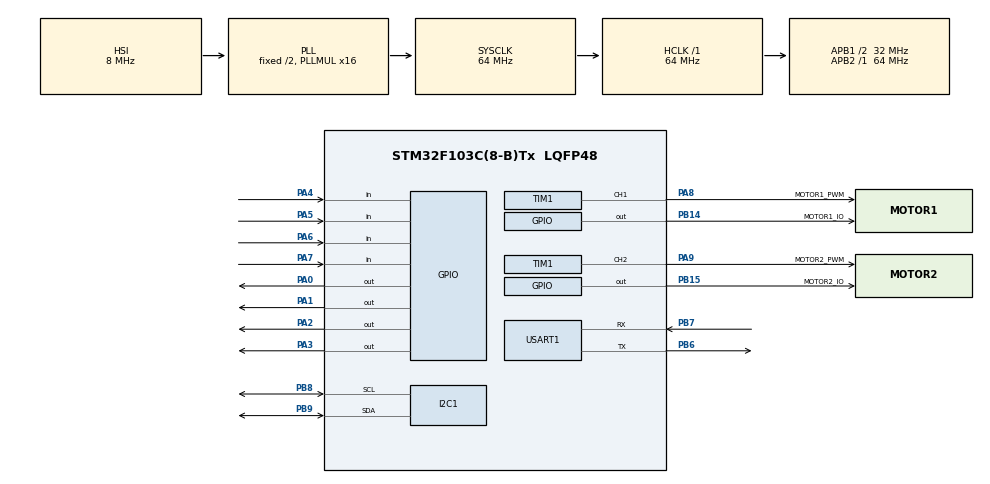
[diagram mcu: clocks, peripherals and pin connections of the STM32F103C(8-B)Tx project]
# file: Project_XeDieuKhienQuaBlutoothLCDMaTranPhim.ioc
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Mcu.Family=STM32F1
Mcu.Name=STM32F103C(8-B)Tx
Mcu.Package=LQFP48
NVIC.PriorityGroup=NVIC_PRIORITYGROUP_4
NVIC.USART1_IRQn=true\:1\:0\:true\:false\:true\:true\:true\:true
PA0-WKUP.Signal=GPIO_Output
PA1.Signal=GPIO_Output
PA13.Mode=Serial_Wire
PA13.Signal=SYS_JTMS-SWDIO
PA14.Mode=Serial_Wire
PA14.Signal=SYS_JTCK-SWCLK
PA2.Signal=GPIO_Output
PA3.Signal=GPIO_Output
PA4.GPIO_Mode=GPIO_MODE_INPUT
PA4.GPIO_PuPd=GPIO_PULLUP
PA4.Signal=GPIO_Input
PA5.GPIO_Mode=GPIO_MODE_INPUT
PA5.GPIO_PuPd=GPIO_PULLUP
PA5.Signal=GPIO_Input
PA6.GPIO_Mode=GPIO_MODE_INPUT
PA6.GPIO_PuPd=GPIO_PULLUP
PA6.Signal=GPIO_Input
PA7.GPIO_Mode=GPIO_MODE_INPUT
PA7.GPIO_PuPd=GPIO_PULLUP
PA7.Signal=GPIO_Input
PA8.GPIO_Label=MOTOR1_PWM
PA8.Signal=S_TIM1_CH1
PA9.GPIO_Label=MOTOR2_PWM
PA9.Signal=S_TIM1_CH2
PB14.GPIO_Label=MOTOR1_IO
PB14.Signal=GPIO_Output
PB15.GPIO_Label=MOTOR2_IO
PB15.Signal=GPIO_Output
PB6.Mode=Asynchronous
PB6.Signal=USART1_TX
PB7.Mode=Asynchronous
PB7.Signal=USART1_RX
PB8.Mode=I2C
PB8.Signal=I2C1_SCL
PB9.Mode=I2C
PB9.Signal=I2C1_SDA
PD0-OSC_IN.Mode=HSE-External-Oscillator
PD0-OSC_IN.Signal=RCC_OSC_IN
PD1-OSC_OUT.Mode=HSE-External-Oscillator
PD1-OSC_OUT.Signal=RCC_OSC_OUT
ProjectManager.HeapSize=0x200
ProjectManager.StackSize=0x400
ProjectManager.TargetToolchain=MDK-ARM V5.32
RCC.AHBFreq_Value=64000000
RCC.APB1CLKDivider=RCC_HCLK_DIV2
RCC.APB1Freq_Value=32000000
RCC.APB1TimFreq_Value=64000000
RCC.APB2Freq_Value=64000000
RCC.APB2TimFreq_Value=64000000
RCC.HCLKFreq_Value=64000000
RCC.PLLMUL=RCC_PLL_MUL16
RCC.SYSCLKFreq_VALUE=64000000
RCC.SYSCLKSource=RCC_SYSCLKSOURCE_PLLCLK
RCC.USBFreq_Value=64000000
SH.S_TIM1_CH1.0=TIM1_CH1,PWM Generation1 CH1
SH.S_TIM1_CH2.0=TIM1_CH2,PWM Generation2 CH2
TIM1.Channel-PWM\ Generation1\ CH1=TIM_CHANNEL_1
TIM1.Channel-PWM\ Generation2\ CH2=TIM_CHANNEL_2
TIM1.Period=999
USART1.VirtualMode=VM_ASYNC
VP_TIM1_VS_ClockSourceINT.Mode=Internal
board=custom

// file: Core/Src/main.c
/* USER CODE BEGIN Header */
/**
  ******************************************************************************
  * @file           : main.c
  * @brief          : Main program body
  ******************************************************************************
  * @attention
  *
  * Copyright (c) 2026 STMicroelectronics.
  * All rights reserved.
  *
  * This software is licensed under terms that can be found in the LICENSE file
  * in the root directory of this software component.
  * If no LICENSE file comes with this software, it is provided AS-IS.
  *
  ******************************************************************************
  */
/* USER CODE END Header */
#include "main.h"

/* USER CODE BEGIN Includes */
#include "Car.h"
#include "Keypad.h"
#include "Lcd.h"
#include "string.h"
/* USER CODE END Includes */

I2C_HandleTypeDef hi2c1;

TIM_HandleTypeDef htim1;

UART_HandleTypeDef huart1;

void SystemClock_Config(void);
static void MX_GPIO_Init(void);
static void MX_TIM1_Init(void);
static void MX_USART1_UART_Init(void);
static void MX_I2C1_Init(void);

/* USER CODE BEGIN 0 */

// ---------------Xu ly nhap mat khau----------

typedef enum
{
	NORMAL_STATE,
	LOCK_STATE,
	ENTER_PASS_STATE,
	LOCK_30s_STATE,
}KeypadState;

KeypadState keypad_state = LOCK_STATE;

#define PASSWORD_LEN 8
#define MAX_PASS_ERR 3
#define LOCK_TIME_MS 30000
uint8_t pass[PASSWORD_LEN] = "01234567";
uint8_t count_err;
uint32_t timer_start_err;

typedef struct
{
	uint8_t buff[PASSWORD_LEN + 1]; // +1 de luon co '\0'
	uint8_t index;
}Password_Typedef;

Password_Typedef password;

// ---------------Trang thai xe + failsafe----------
// Mat lenh di chuyen qua CMD_TIMEOUT_MS thi xe tu dung (dat 0 de tat failsafe)
#define CMD_TIMEOUT_MS 500

Car_State car_state = CAR_STOP_STATE;
uint8_t car_speed = 100;
uint32_t last_cmd_tick;

static void car_move(Car_State state, uint8_t speed)
{
	car_control(state, speed);
	car_state = state;
	last_cmd_tick = HAL_GetTick();
}

static void car_halt(void)
{
	car_control(CAR_STOP_STATE, 0);
	car_state = CAR_STOP_STATE;
}

static void password_reset(void)
{
	memset(&password, 0, sizeof(password));
}

void failsafe_handle(void)
{
#if CMD_TIMEOUT_MS > 0
	if(car_state != CAR_STOP_STATE && HAL_GetTick() - last_cmd_tick > CMD_TIMEOUT_MS)
	{
		car_halt();
	}
#endif
}

void KeypadPressingCallback(uint8_t key)
{
	switch(keypad_state)
	{
		case ENTER_PASS_STATE:
		{
			if(key >= '0' && key <= '9')
			{
				if(password.index < PASSWORD_LEN)
				{
					password.buff[password.index++] = key;
				}
			}
			else if(key == 'D')
			{
				//check pass: phai du PASSWORD_LEN ky tu
				if(password.index == PASSWORD_LEN
					&& memcmp(password.buff, pass, PASSWORD_LEN) == 0)
				{
					//mat khau dung
					count_err = 0;
					password_reset();
					keypad_state = NORMAL_STATE;
				}
				else
				{
					count_err++;
					password_reset();
					if(count_err >= MAX_PASS_ERR)
					{
						timer_start_err = HAL_GetTick();
						keypad_state = LOCK_30s_STATE;
					}
				}
			}
			break;
		}
		default:
			break;
	}
}

void KeypadPressingTimeOutCallback(uint8_t key)
{
	if(key != 'D')
	{
		return;
	}
	if(keypad_state == LOCK_STATE)
	{
		password_reset();
		keypad_state = ENTER_PASS_STATE;
	}
	else if(keypad_state == NORMAL_STATE)
	{
		// giu D khi dang dieu khien: khoa lai va dung xe
		car_halt();
		keypad_state = LOCK_STATE;
	}
}

void handle_state_keyboard()
{
	switch(keypad_state)
	{
		case LOCK_30s_STATE:
		{
			if(HAL_GetTick() - timer_start_err >= LOCK_TIME_MS)
			{
				count_err = 0;
				keypad_state = LOCK_STATE;
			}
			break;
		}
		default:
			break;
	}
}

//---------------Xu ly UART---------------------
// Ring buffer: ngat UART ghi vao head, vong lap chinh doc tu tail
#define RX_BUF_SIZE 32
uint8_t data_rx;
static volatile uint8_t rx_buf[RX_BUF_SIZE];
static volatile uint8_t rx_head;
static volatile uint8_t rx_tail;

void HAL_UART_RxCpltCallback(UART_HandleTypeDef *huart)
{
	if(huart->Instance == huart1.Instance)
	{
		uint8_t next = (rx_head + 1) % RX_BUF_SIZE;
		if(next != rx_tail) // day thi bo byte moi
		{
			rx_buf[rx_head] = data_rx;
			rx_head = next;
		}
		HAL_UART_Receive_IT(&huart1, &data_rx, 1);
	}
}

void HAL_UART_ErrorCallback(UART_HandleTypeDef *huart)
{
	if(huart->Instance == huart1.Instance)
	{
		// loi overrun/framing/noise: xoa co va nhan lai, tranh treo UART
		__HAL_UART_CLEAR_OREFLAG(&huart1);
		HAL_UART_Receive_IT(&huart1, &data_rx, 1);
	}
}

static void uart_process(uint8_t cmd)
{
	// Lenh dung luon co hieu luc o moi trang thai
	if(cmd == 'S')
	{
		car_halt();
		return;
	}
	if(keypad_state != NORMAL_STATE)
	{
		return;
	}
	switch(cmd)
	{
		case 'F':
			car_move(CAR_FORWARD_STATE, car_speed);
			break;
		case 'B':
			car_move(CAR_BACKWARD_STATE, car_speed);
			break;
		case 'L':
			car_move(CAR_TURNLEFT_STATE, car_speed);
			break;
		case 'R':
			car_move(CAR_TURNRIGHT_STATE, car_speed);
			break;
		default:
			if(cmd >= '0' && cmd <= '9')
			{
				//0 -> 90
				car_speed = (cmd - '0') * 10;
			}
			else if(cmd == 'q')
			{
				car_speed = 100;
			}
			break;
	}
}

void uart_handle()
{
	while(rx_tail != rx_head)
	{
		uint8_t cmd = rx_buf[rx_tail];
		rx_tail = (rx_tail + 1) % RX_BUF_SIZE;
		uart_process(cmd);
	}
}
//---------------Hien thi LCD---------------------
#define LCD_ADDR (0x27 << 1) // PCF8574A: 0x3F << 1
#define LCD_REFRESH_MS 100

static char lcd_last[LCD_ROWS][LCD_COLS + 1];

static void lcd_show(uint8_t row, const char *s)
{
	if(strcmp(lcd_last[row], s) != 0) // chi ve lai khi noi dung doi
	{
		lcd_print_line(row, s);
		strncpy(lcd_last[row], s, LCD_COLS);
		lcd_last[row][LCD_COLS] = 0;
	}
}

// ghi so 0..999 vao dst, tra ve con tro sau so
static char *put_num(char *dst, uint16_t v)
{
	if(v >= 100) *dst++ = '0' + v / 100;
	if(v >= 10) *dst++ = '0' + (v / 10) % 10;
	*dst++ = '0' + v % 10;
	return dst;
}

void lcd_update(void)
{
	static uint32_t t_last;
	if(HAL_GetTick() - t_last < LCD_REFRESH_MS)
	{
		return;
	}
	t_last = HAL_GetTick();

	char l1[LCD_COLS + 1] = "";
	char l2[LCD_COLS + 1] = "";
	switch(keypad_state)
	{
		case LOCK_STATE:
			strcpy(l1, "LOCKED");
			strcpy(l2, "Hold D 3s unlock");
			break;
		case ENTER_PASS_STATE:
			strcpy(l1, "ENTER PASSWORD");
			memset(l2, '*', password.index);
			l2[password.index] = 0;
			break;
		case LOCK_30s_STATE:
		{
			uint32_t left = LOCK_TIME_MS - (HAL_GetTick() - timer_start_err);
			if(left > LOCK_TIME_MS) left = 0; // tranh tran so khi het gio
			strcpy(l1, "WRONG! LOCKED");
			char *p = l2;
			strcpy(p, "Wait: "); p += 6;
			p = put_num(p, (left + 999) / 1000);
			*p++ = 's'; *p = 0;
			break;
		}
		case NORMAL_STATE:
		{
			static const char *dir_name[] = {"STOP", "FWD", "BACK", "LEFT", "RIGHT"};
			strcpy(l1, "READY");
			char *p = l2;
			strcpy(p, dir_name[car_state]); p += strlen(dir_name[car_state]);
			strcpy(p, " SPD:"); p += 5;
			p = put_num(p, car_speed);
			*p++ = '%'; *p = 0;
			break;
		}
	}
	lcd_show(0, l1);
	lcd_show(1, l2);
}
/* USER CODE END 0 */

int main(void)
{

  /* MCU Configuration--------------------------------------------------------*/

  /* Reset of all peripherals, Initializes the Flash interface and the Systick. */
  HAL_Init();

  /* Configure the system clock */
  SystemClock_Config();

  /* Initialize all configured peripherals */
  MX_GPIO_Init();
  MX_TIM1_Init();
  MX_USART1_UART_Init();
  MX_I2C1_Init();
  /* USER CODE BEGIN 2 */

	car_init(&htim1);
	HAL_UART_Receive_IT(&huart1, &data_rx, 1);
	Keypad_Init();
	lcd_init(&hi2c1, LCD_ADDR);
//	control_motor1(MOTOR_CW, 50);
//	control_motor2(MOTOR_CCW, 50);
  /* USER CODE END 2 */

  /* Infinite loop */
  while (1)
  {

    /* USER CODE BEGIN 3 */
		uart_handle();
		Keypad_Handle();
		handle_state_keyboard();
		failsafe_handle();
		lcd_update();
	}
  /* USER CODE END 3 */
}

void SystemClock_Config(void)
{
  RCC_OscInitTypeDef RCC_OscInitStruct = {0};
  RCC_ClkInitTypeDef RCC_ClkInitStruct = {0};

  /** Initializes the RCC Oscillators according to the specified parameters
  * in the RCC_OscInitTypeDef structure.
  */
  RCC_OscInitStruct.OscillatorType = RCC_OSCILLATORTYPE_HSI;
  RCC_OscInitStruct.HSIState = RCC_HSI_ON;
  RCC_OscInitStruct.HSICalibrationValue = RCC_HSICALIBRATION_DEFAULT;
  RCC_OscInitStruct.PLL.PLLState = RCC_PLL_ON;
  RCC_OscInitStruct.PLL.PLLSource = RCC_PLLSOURCE_HSI_DIV2;
  RCC_OscInitStruct.PLL.PLLMUL = RCC_PLL_MUL16;
  if (HAL_RCC_OscConfig(&RCC_OscInitStruct) != HAL_OK)
  {
    Error_Handler();
  }

  /** Initializes the CPU, AHB and APB buses clocks
  */
  RCC_ClkInitStruct.ClockType = RCC_CLOCKTYPE_HCLK|RCC_CLOCKTYPE_SYSCLK
                              |RCC_CLOCKTYPE_PCLK1|RCC_CLOCKTYPE_PCLK2;
  RCC_ClkInitStruct.SYSCLKSource = RCC_SYSCLKSOURCE_PLLCLK;
  RCC_ClkInitStruct.AHBCLKDivider = RCC_SYSCLK_DIV1;
  RCC_ClkInitStruct.APB1CLKDivider = RCC_HCLK_DIV2;
  RCC_ClkInitStruct.APB2CLKDivider = RCC_HCLK_DIV1;

  if (HAL_RCC_ClockConfig(&RCC_ClkInitStruct, FLASH_LATENCY_2) != HAL_OK)
  {
    Error_Handler();
  }
}

static void MX_I2C1_Init(void)
{

  hi2c1.Instance = I2C1;
  hi2c1.Init.ClockSpeed = 100000;
  hi2c1.Init.DutyCycle = I2C_DUTYCYCLE_2;
  hi2c1.Init.OwnAddress1 = 0;
  hi2c1.Init.AddressingMode = I2C_ADDRESSINGMODE_7BIT;
  hi2c1.Init.DualAddressMode = I2C_DUALADDRESS_DISABLE;
  hi2c1.Init.OwnAddress2 = 0;
  hi2c1.Init.GeneralCallMode = I2C_GENERALCALL_DISABLE;
  hi2c1.Init.NoStretchMode = I2C_NOSTRETCH_DISABLE;
  if (HAL_I2C_Init(&hi2c1) != HAL_OK)
  {
    Error_Handler();
  }

}

static void MX_TIM1_Init(void)
{

  TIM_ClockConfigTypeDef sClockSourceConfig = {0};
  TIM_MasterConfigTypeDef sMasterConfig = {0};
  TIM_OC_InitTypeDef sConfigOC = {0};
  TIM_BreakDeadTimeConfigTypeDef sBreakDeadTimeConfig = {0};

  htim1.Instance = TIM1;
  htim1.Init.Prescaler = 0;
  htim1.Init.CounterMode = TIM_COUNTERMODE_UP;
  htim1.Init.Period = 999;
  htim1.Init.ClockDivision = TIM_CLOCKDIVISION_DIV1;
  htim1.Init.RepetitionCounter = 0;
  htim1.Init.AutoReloadPreload = TIM_AUTORELOAD_PRELOAD_DISABLE;
  if (HAL_TIM_Base_Init(&htim1) != HAL_OK)
  {
    Error_Handler();
  }
  sClockSourceConfig.ClockSource = TIM_CLOCKSOURCE_INTERNAL;
  if (HAL_TIM_ConfigClockSource(&htim1, &sClockSourceConfig) != HAL_OK)
  {
    Error_Handler();
  }
  if (HAL_TIM_PWM_Init(&htim1) != HAL_OK)
  {
    Error_Handler();
  }
  sMasterConfig.MasterOutputTrigger = TIM_TRGO_RESET;
  sMasterConfig.MasterSlaveMode = TIM_MASTERSLAVEMODE_DISABLE;
  if (HAL_TIMEx_MasterConfigSynchronization(&htim1, &sMasterConfig) != HAL_OK)
  {
    Error_Handler();
  }
  sConfigOC.OCMode = TIM_OCMODE_PWM1;
  sConfigOC.Pulse = 0;
  sConfigOC.OCPolarity = TIM_OCPOLARITY_HIGH;
  sConfigOC.OCNPolarity = TIM_OCNPOLARITY_HIGH;
  sConfigOC.OCFastMode = TIM_OCFAST_DISABLE;
  sConfigOC.OCIdleState = TIM_OCIDLESTATE_RESET;
  sConfigOC.OCNIdleState = TIM_OCNIDLESTATE_RESET;
  if (HAL_TIM_PWM_ConfigChannel(&htim1, &sConfigOC, TIM_CHANNEL_1) != HAL_OK)
  {
    Error_Handler();
  }
  if (HAL_TIM_PWM_ConfigChannel(&htim1, &sConfigOC, TIM_CHANNEL_2) != HAL_OK)
  {
    Error_Handler();
  }
  sBreakDeadTimeConfig.OffStateRunMode = TIM_OSSR_DISABLE;
  sBreakDeadTimeConfig.OffStateIDLEMode = TIM_OSSI_DISABLE;
  sBreakDeadTimeConfig.LockLevel = TIM_LOCKLEVEL_OFF;
  sBreakDeadTimeConfig.DeadTime = 0;
  sBreakDeadTimeConfig.BreakState = TIM_BREAK_DISABLE;
  sBreakDeadTimeConfig.BreakPolarity = TIM_BREAKPOLARITY_HIGH;
  sBreakDeadTimeConfig.AutomaticOutput = TIM_AUTOMATICOUTPUT_DISABLE;
  if (HAL_TIMEx_ConfigBreakDeadTime(&htim1, &sBreakDeadTimeConfig) != HAL_OK)
  {
    Error_Handler();
  }
  HAL_TIM_MspPostInit(&htim1);

}

static void MX_USART1_UART_Init(void)
{

  huart1.Instance = USART1;
  huart1.Init.BaudRate = 115200;
  huart1.Init.WordLength = UART_WORDLENGTH_8B;
  huart1.Init.StopBits = UART_STOPBITS_1;
  huart1.Init.Parity = UART_PARITY_NONE;
  huart1.Init.Mode = UART_MODE_TX_RX;
  huart1.Init.HwFlowCtl = UART_HWCONTROL_NONE;
  huart1.Init.OverSampling = UART_OVERSAMPLING_16;
  if (HAL_UART_Init(&huart1) != HAL_OK)
  {
    Error_Handler();
  }

}

static void MX_GPIO_Init(void)
{
  GPIO_InitTypeDef GPIO_InitStruct = {0};

  /* GPIO Ports Clock Enable */
  __HAL_RCC_GPIOD_CLK_ENABLE();
  __HAL_RCC_GPIOA_CLK_ENABLE();
  __HAL_RCC_GPIOB_CLK_ENABLE();

  /*Configure GPIO pin Output Level */
  HAL_GPIO_WritePin(GPIOA, GPIO_PIN_0|GPIO_PIN_1|GPIO_PIN_2|GPIO_PIN_3, GPIO_PIN_RESET);

  /*Configure GPIO pin Output Level */
  HAL_GPIO_WritePin(GPIOB, MOTOR1_IO_Pin|MOTOR2_IO_Pin, GPIO_PIN_RESET);

  /*Configure GPIO pins : PA0 PA1 PA2 PA3 */
  GPIO_InitStruct.Pin = GPIO_PIN_0|GPIO_PIN_1|GPIO_PIN_2|GPIO_PIN_3;
  GPIO_InitStruct.Mode = GPIO_MODE_OUTPUT_PP;
  GPIO_InitStruct.Pull = GPIO_NOPULL;
  GPIO_InitStruct.Speed = GPIO_SPEED_FREQ_LOW;
  HAL_GPIO_Init(GPIOA, &GPIO_InitStruct);

  /*Configure GPIO pins : PA4 PA5 PA6 PA7 */
  GPIO_InitStruct.Pin = GPIO_PIN_4|GPIO_PIN_5|GPIO_PIN_6|GPIO_PIN_7;
  GPIO_InitStruct.Mode = GPIO_MODE_INPUT;
  GPIO_InitStruct.Pull = GPIO_PULLUP;
  HAL_GPIO_Init(GPIOA, &GPIO_InitStruct);

  /*Configure GPIO pins : MOTOR1_IO_Pin MOTOR2_IO_Pin */
  GPIO_InitStruct.Pin = MOTOR1_IO_Pin|MOTOR2_IO_Pin;
  GPIO_InitStruct.Mode = GPIO_MODE_OUTPUT_PP;
  GPIO_InitStruct.Pull = GPIO_NOPULL;
  GPIO_InitStruct.Speed = GPIO_SPEED_FREQ_LOW;
  HAL_GPIO_Init(GPIOB, &GPIO_InitStruct);

}

void Error_Handler(void)
{
  __disable_irq();
  while (1)
  {
  }
}
